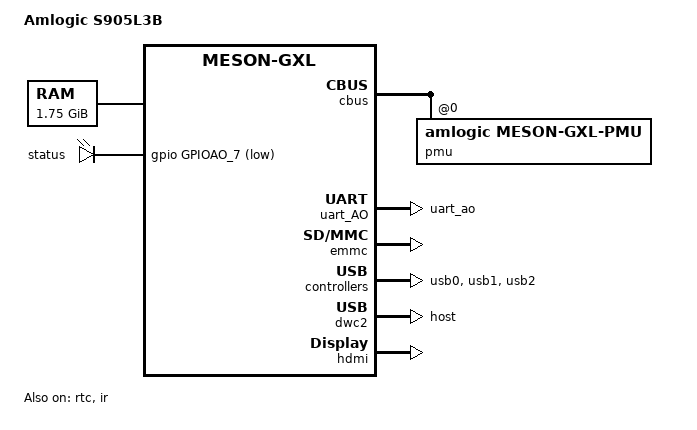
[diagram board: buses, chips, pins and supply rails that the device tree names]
/dts-v1/;

#include <dt-bindings/input/input.h>
#include <dt-bindings/gpio/gpio.h>
#include <dt-bindings/clock/meson-gxl.h>
#include "meson-gxl.dtsi"

/ {
	model = "Amlogic S905L3B";
	compatible = "amlogic,s905l3b", "amlogic,meson-gxl";

	memory@0 {
		device_type = "memory";
		reg = <0x0 0x00000000 0x0 0x70000000>;
	};

	reserved-memory {
		#address-cells = <1>;
		#size-cells = <1>;
		ranges;

		linux,cma {
			compatible = "shared-dma-pool";
			reusable;
			size = <0x4000000>; /* 64MB CMA */
			alignment = <0x100000>;
			linux,cma-default;
		};
	};

	aliases {
		serial0 = &uart_AO;
	};

	chosen {
		stdout-path = "serial0:115200n8";
	};

	leds {
		compatible = "gpio-leds";
		status {
			gpios = <&gpio GPIOAO_7 GPIO_ACTIVE_LOW>;
			default-state = "on";
		};
	};
};

&cbus {
	pmu: pmu@0 {
		compatible = "amlogic,meson-gxl-pmu";
		reg = <0x0 0x0 0x0 0x100>;
	};
};

&uart_AO {
	status = "okay";
	pinctrl-0 = <&uart_ao_pins>;
	pinctrl-names = "default";
};

&pinctrl {
	uart_ao_pins: uart-ao-pins {
		mux {
			groups = "uart_ao";
			function = "uart_ao";
		};
	};
};

&emmc {
	status = "okay";
	disable-wp;
	cap-mmc-highspeed;
	cap-sd-highspeed;
	max-frequency = <100000000>;
	no-sdio;
	no-sd;
	pinctrl-0 = <&emmc_pins>;
	pinctrl-names = "default";
};

&usb0 {
	status = "okay";
};

&usb1 {
	status = "okay";
};

&usb2 {
	status = "okay";
};

&dwc2 {
	dr_mode = "host";
	status = "okay";
};

&rtc {
	status = "okay";
};

&hdmi {
	status = "okay";
	hdmi-supply = <&vddio_1v8>;
	hdmi-timings {
		native-mode = <&timing_1080p60>;
		timing_1080p60: timing1080p60 {
			clock-frequency = <148500000>;
			hactive = <1920>;
			vactive = <1080>;
			hsync-len = <44>;
			hfront-porch = <88>;
			hback-porch = <148>;
			vsync-len = <5>;
			vfront-porch = <4>;
			vback-porch = <36>;
			hsync-active = <0>;
			vsync-active = <0>;
			de-active = <1>;
			pixelclk-active = <0>;
		};
	};
};

&vddio_1v8 {
	status = "okay";
};

&vddio_3v3 {
	status = "okay";
};

&ir {
	status = "okay";
	pinctrl-0 = <&ir_recv_pins>;
	pinctrl-names = "default";
};
